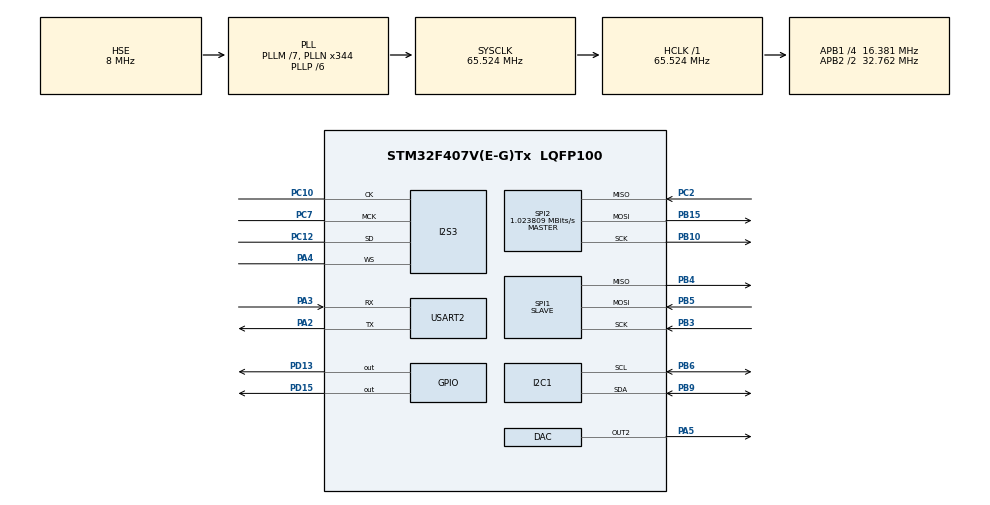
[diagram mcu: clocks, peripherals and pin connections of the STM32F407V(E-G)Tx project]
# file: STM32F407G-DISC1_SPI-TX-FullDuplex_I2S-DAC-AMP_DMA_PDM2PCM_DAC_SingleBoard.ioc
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Dma.Request0=SPI2_RX
Dma.Request1=SPI2_TX
Dma.Request2=SPI1_TX
Dma.Request3=SPI1_RX
Dma.Request4=SPI3_TX
Dma.SPI1_RX.3.Direction=DMA_PERIPH_TO_MEMORY
Dma.SPI1_RX.3.FIFOMode=DMA_FIFOMODE_DISABLE
Dma.SPI1_RX.3.Instance=DMA2_Stream0
Dma.SPI1_RX.3.MemDataAlignment=DMA_MDATAALIGN_BYTE
Dma.SPI1_RX.3.MemInc=DMA_MINC_ENABLE
Dma.SPI1_RX.3.Mode=DMA_CIRCULAR
Dma.SPI1_RX.3.PeriphDataAlignment=DMA_PDATAALIGN_BYTE
Dma.SPI1_RX.3.PeriphInc=DMA_PINC_DISABLE
Dma.SPI1_RX.3.Priority=DMA_PRIORITY_MEDIUM
Dma.SPI1_TX.2.Direction=DMA_MEMORY_TO_PERIPH
Dma.SPI1_TX.2.FIFOMode=DMA_FIFOMODE_DISABLE
Dma.SPI1_TX.2.Instance=DMA2_Stream3
Dma.SPI1_TX.2.MemDataAlignment=DMA_MDATAALIGN_BYTE
Dma.SPI1_TX.2.MemInc=DMA_MINC_ENABLE
Dma.SPI1_TX.2.Mode=DMA_CIRCULAR
Dma.SPI1_TX.2.PeriphDataAlignment=DMA_PDATAALIGN_BYTE
Dma.SPI1_TX.2.PeriphInc=DMA_PINC_DISABLE
Dma.SPI1_TX.2.Priority=DMA_PRIORITY_MEDIUM
Dma.SPI2_RX.0.Direction=DMA_PERIPH_TO_MEMORY
Dma.SPI2_RX.0.FIFOMode=DMA_FIFOMODE_DISABLE
Dma.SPI2_RX.0.Instance=DMA1_Stream3
Dma.SPI2_RX.0.MemDataAlignment=DMA_MDATAALIGN_BYTE
Dma.SPI2_RX.0.MemInc=DMA_MINC_ENABLE
Dma.SPI2_RX.0.Mode=DMA_CIRCULAR
Dma.SPI2_RX.0.PeriphDataAlignment=DMA_PDATAALIGN_BYTE
Dma.SPI2_RX.0.PeriphInc=DMA_PINC_DISABLE
Dma.SPI2_RX.0.Priority=DMA_PRIORITY_MEDIUM
Dma.SPI2_TX.1.Direction=DMA_MEMORY_TO_PERIPH
Dma.SPI2_TX.1.FIFOMode=DMA_FIFOMODE_DISABLE
Dma.SPI2_TX.1.Instance=DMA1_Stream4
Dma.SPI2_TX.1.MemDataAlignment=DMA_MDATAALIGN_BYTE
Dma.SPI2_TX.1.MemInc=DMA_MINC_ENABLE
Dma.SPI2_TX.1.Mode=DMA_CIRCULAR
Dma.SPI2_TX.1.PeriphDataAlignment=DMA_PDATAALIGN_BYTE
Dma.SPI2_TX.1.PeriphInc=DMA_PINC_DISABLE
Dma.SPI2_TX.1.Priority=DMA_PRIORITY_MEDIUM
Dma.SPI3_TX.4.Direction=DMA_MEMORY_TO_PERIPH
Dma.SPI3_TX.4.FIFOMode=DMA_FIFOMODE_DISABLE
Dma.SPI3_TX.4.Instance=DMA1_Stream5
Dma.SPI3_TX.4.MemDataAlignment=DMA_MDATAALIGN_HALFWORD
Dma.SPI3_TX.4.MemInc=DMA_MINC_ENABLE
Dma.SPI3_TX.4.Mode=DMA_CIRCULAR
Dma.SPI3_TX.4.PeriphDataAlignment=DMA_PDATAALIGN_HALFWORD
Dma.SPI3_TX.4.PeriphInc=DMA_PINC_DISABLE
Dma.SPI3_TX.4.Priority=DMA_PRIORITY_LOW
I2S3.AudioFreq=I2S_AUDIOFREQ_16K
I2S3.ErrorAudioFreq=-0.01 %
I2S3.FullDuplexMode=I2S_FULLDUPLEXMODE_DISABLE
I2S3.Instance=SPI$Index
I2S3.RealAudioFreq=15.997 KHz
I2S3.VirtualMode=I2S_MODE_MASTER
Mcu.Family=STM32F4
Mcu.Name=STM32F407V(E-G)Tx
Mcu.Package=LQFP100
NVIC.DMA1_Stream3_IRQn=true\:0\:0\:false\:false\:true\:false\:true
NVIC.DMA1_Stream4_IRQn=true\:0\:0\:false\:false\:true\:false\:true
NVIC.DMA1_Stream5_IRQn=true\:0\:0\:false\:false\:true\:false\:true
NVIC.DMA2_Stream0_IRQn=true\:0\:0\:false\:false\:true\:false\:true
NVIC.DMA2_Stream3_IRQn=true\:0\:0\:false\:false\:true\:false\:true
NVIC.PriorityGroup=NVIC_PRIORITYGROUP_0
PA13.Mode=Serial_Wire
PA13.Signal=SYS_JTMS-SWDIO
PA14.Mode=Serial_Wire
PA14.Signal=SYS_JTCK-SWCLK
PA2.Mode=Asynchronous
PA2.Signal=USART2_TX
PA3.Mode=Asynchronous
PA3.Signal=USART2_RX
PA4.Mode=Half_Duplex_Master
PA4.Signal=I2S3_WS
PA5.Signal=COMP_DAC2_group
PB10.GPIO_Speed=GPIO_SPEED_FREQ_LOW
PB10.Mode=Full_Duplex_Master
PB10.Signal=SPI2_SCK
PB15.GPIO_Speed=GPIO_SPEED_FREQ_LOW
PB15.Mode=Full_Duplex_Master
PB15.Signal=SPI2_MOSI
PB3.GPIO_Speed=GPIO_SPEED_FREQ_LOW
PB3.Mode=Full_Duplex_Slave
PB3.Signal=SPI1_SCK
PB4.GPIO_Speed=GPIO_SPEED_FREQ_LOW
PB4.Mode=Full_Duplex_Slave
PB4.Signal=SPI1_MISO
PB5.GPIO_Speed=GPIO_SPEED_FREQ_LOW
PB5.Mode=Full_Duplex_Slave
PB5.Signal=SPI1_MOSI
PB6.GPIO_Speed=GPIO_SPEED_FREQ_MEDIUM
PB6.Mode=I2C
PB6.Signal=I2C1_SCL
PB9.GPIO_Speed=GPIO_SPEED_FREQ_MEDIUM
PB9.Mode=I2C
PB9.Signal=I2C1_SDA
PC10.Mode=Half_Duplex_Master
PC10.Signal=I2S3_CK
PC12.Mode=Half_Duplex_Master
PC12.Signal=I2S3_SD
PC2.GPIO_Speed=GPIO_SPEED_FREQ_LOW
PC2.Mode=Full_Duplex_Master
PC2.Signal=SPI2_MISO
PC7.Mode=Master_Clock_Activated
PC7.Signal=I2S3_MCK
PD13.Signal=GPIO_Output
PD15.Signal=GPIO_Output
PDM2PCM.CHANNEL1_in_ptr_channels=1
PDM2PCM.CHANNEL1_mic_gain=40
PDM2PCM.CHANNEL1_out_ptr_channels=1
PDM2PCM.CHANNEL1_output_samples_number=125
PH0-OSC_IN.Mode=HSE-External-Oscillator
PH0-OSC_IN.Signal=RCC_OSC_IN
PH1-OSC_OUT.Mode=HSE-External-Oscillator
PH1-OSC_OUT.Signal=RCC_OSC_OUT
ProjectManager.HeapSize=0x200
ProjectManager.StackSize=0x400
ProjectManager.TargetToolchain=STM32CubeIDE
RCC.48MHZClocksFreq_Value=56163265.30612246
RCC.AHBFreq_Value=65523809.52380953
RCC.APB1CLKDivider=RCC_HCLK_DIV4
RCC.APB1Freq_Value=16380952.380952382
RCC.APB1TimFreq_Value=32761904.761904765
RCC.APB2CLKDivider=RCC_HCLK_DIV2
RCC.APB2Freq_Value=32761904.761904765
RCC.APB2TimFreq_Value=65523809.52380953
RCC.CortexFreq_Value=65523809.52380953
RCC.HCLKFreq_Value=65523809.52380953
RCC.HSE_VALUE=8000000
RCC.HSI_VALUE=16000000
RCC.LSE_VALUE=32768
RCC.PLLI2SN=344
RCC.PLLI2SR=6
RCC.PLLM=7
RCC.PLLN=344
RCC.PLLP=RCC_PLLP_DIV6
RCC.PLLQ=7
RCC.PLLSourceVirtual=RCC_PLLSOURCE_HSE
RCC.SYSCLKFreq_VALUE=65523809.52380953
RCC.SYSCLKSource=RCC_SYSCLKSOURCE_PLLCLK
RCC.VCOOutputFreq_Value=393142857.1428572
SH.COMP_DAC2_group.0=DAC_OUT2,DAC_OUT2
SPI1.Direction=SPI_DIRECTION_2LINES
SPI1.Mode=SPI_MODE_SLAVE
SPI1.VirtualType=VM_SLAVE
SPI2.BaudRatePrescaler=SPI_BAUDRATEPRESCALER_16
SPI2.CalculateBaudRate=1.023809 MBits/s
SPI2.Direction=SPI_DIRECTION_2LINES
SPI2.Mode=SPI_MODE_MASTER
SPI2.VirtualType=VM_MASTER
TIM2.AutoReloadPreload=TIM_AUTORELOAD_PRELOAD_ENABLE
TIM2.Period=128-1
TIM2.Prescaler=16-1
TIM2.TIM_MasterOutputTrigger=TIM_TRGO_UPDATE
TIM6.AutoReloadPreload=TIM_AUTORELOAD_PRELOAD_ENABLE
TIM6.Period=128-1
TIM6.Prescaler=16-1
TIM6.TIM_MasterOutputTrigger=TIM_TRGO_UPDATE
USART2.VirtualMode=VM_ASYNC
VP_CRC_VS_CRC.Mode=CRC_Activate
VP_PDM2PCM_VS_PDM2PCM.Mode=PDM2PCM_Channel
VP_TIM2_VS_ClockSourceINT.Mode=Internal
VP_TIM6_VS_ClockSourceINT.Mode=Enable_Timer
board=STM32F407G-DISC1

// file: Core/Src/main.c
/* USER CODE BEGIN Header */
/**
 ******************************************************************************
 * @file           : main.c
 * @brief          : Main program body
 ******************************************************************************
 * @attention
 *
 * <h2><center>&copy; Copyright (c) 2021 STMicroelectronics.
 * All rights reserved.</center></h2>
 *
 * This software component is licensed by ST under Ultimate Liberty license
 * SLA0044, the "License"; You may not use this file except in compliance with
 * the License. You may obtain a copy of the License at:
 *                             www.st.com/SLA0044
 *
 ******************************************************************************
 */
/* USER CODE END Header */
#include "main.h"
#include "pdm2pcm.h"

/* USER CODE BEGIN Includes */

#include <stdio.h>
#include "pdm_tones.h"
#include "MY_CS43L22.h"

//#include "pdm2pcm_glo.h"

/* USER CODE END Includes */

CRC_HandleTypeDef hcrc;

DAC_HandleTypeDef hdac;

I2C_HandleTypeDef hi2c1;

I2S_HandleTypeDef hi2s3;
DMA_HandleTypeDef hdma_spi3_tx;

SPI_HandleTypeDef hspi1;
SPI_HandleTypeDef hspi2;
DMA_HandleTypeDef hdma_spi1_tx;
DMA_HandleTypeDef hdma_spi1_rx;
DMA_HandleTypeDef hdma_spi2_rx;
DMA_HandleTypeDef hdma_spi2_tx;

TIM_HandleTypeDef htim2;
TIM_HandleTypeDef htim6;

UART_HandleTypeDef huart2;

/* USER CODE BEGIN PV */

uint8_t send_data2[30] = "SPI buffer test";
uint8_t receive_data2[1000];
uint8_t PDM_receive_data[2000];
uint8_t PDM_to_I2S[4000]; // double the PDM data for stereo

uint8_t send_data1[30] = "SPI buffer test";
uint8_t receive_data1[30];

int16_t PCM_outBuffer[250];
uint16_t PCM_DAC_outBuffer[250];

/* USER CODE END PV */

void SystemClock_Config(void);
static void MX_GPIO_Init(void);
static void MX_USART2_UART_Init(void);
static void MX_DMA_Init(void);
static void MX_SPI2_Init(void);
static void MX_SPI1_Init(void);
static void MX_CRC_Init(void);
static void MX_DAC_Init(void);
static void MX_TIM6_Init(void);
static void MX_TIM2_Init(void);
static void MX_I2C1_Init(void);
static void MX_I2S3_Init(void);
/* USER CODE BEGIN PFP */

#define PUTCHAR_PROTOTYPE int __io_putchar(int ch)

/* USER CODE END PFP */

int main(void) {

	/* MCU Configuration--------------------------------------------------------*/

	/* Reset of all peripherals, Initializes the Flash interface and the Systick. */
	HAL_Init();

	/* Configure the system clock */
	SystemClock_Config();

	/* Initialize all configured peripherals */
	MX_GPIO_Init();
	MX_USART2_UART_Init();
	MX_DMA_Init();
	MX_SPI2_Init();
	MX_SPI1_Init();
	MX_CRC_Init();
	MX_PDM2PCM_Init();
	MX_DAC_Init();
	MX_TIM6_Init();
	MX_TIM2_Init();
	MX_I2C1_Init();
	MX_I2S3_Init();
	/* USER CODE BEGIN 2 */

	printf("Starting >> STM32F407G-DISC1_SPI-TX-RX-FullDuplex-DMA_PDM2PCM_TIM6_DAC_SingleBoard \n");

	// I2S DAC Amplifier Setup
	CS43_Init(hi2c1, MODE_I2S);
	CS43_SetVolume(40); //0 - 100,, 40
	CS43_Enable_RightLeft(CS43_RIGHT_LEFT);
	CS43_Start();

	// first bit to MSB - 8bit tone500Hz_pdmdata
	for (uint16_t i = 0; i < sizeof(tone500Hz_pdmdata) * 8; i++) {
		pdmBuffer8_8000bits_2000bytes[i >> 3] = (pdmBuffer8_8000bits_2000bytes[i
				>> 3] << 1) + tone500Hz_pdmdata[i % sizeof(tone500Hz_pdmdata)];
	}

	for (uint16_t Index = 0; Index < 2000; Index++) {
		PDM_receive_data[Index] = 0;
	}

	printf("pdmBuffer8_8000bits_2000bytes first bit to MSB\n");
	for (uint16_t Index = 0; Index < 2000; Index++) {
		printf("%d %d\n", Index, pdmBuffer8_8000bits_2000bytes[Index]);
	}

	// working ok
//  HAL_SPI_TransmitReceive_DMA(&hspi1, send_data1, receive_data1, 30);
//  HAL_SPI_TransmitReceive_DMA(&hspi2, send_data2, receive_data2, 30);

	// initialize DAC data to the center of 12bit = 2048
	for (uint16_t Index = 0; Index < 250; Index++) {
		PCM_DAC_outBuffer[Index] = 2048;
	}

	HAL_DAC_Start_DMA(&hdac, DAC_CHANNEL_1, (uint32_t*) PCM_DAC_outBuffer, 250,
			DAC_ALIGN_12B_R);

	HAL_SPI_Transmit_DMA(&hspi1, pdmBuffer8_8000bits_2000bytes, 250); // 125 = 1000bytes, 250 = 2000 bytes
	HAL_SPI_Receive_DMA(&hspi2, PDM_receive_data, 2000);

	HAL_TIM_Base_Start_IT(&htim2); //Start the timer

	HAL_Delay(100);

	printf("Ending >> STM32F407G-DISC1_SPI-TX-RX-FullDuplex-DMA_PDM2PCM_TIM6_DAC_SingleBoard \n");

	/* USER CODE END 2 */

	/* Infinite loop */
	while (1) {

	}
}

void SystemClock_Config(void) {
	RCC_OscInitTypeDef RCC_OscInitStruct = { 0 };
	RCC_ClkInitTypeDef RCC_ClkInitStruct = { 0 };

	/** Configure the main internal regulator output voltage
	 */
	__HAL_RCC_PWR_CLK_ENABLE();
	__HAL_PWR_VOLTAGESCALING_CONFIG(PWR_REGULATOR_VOLTAGE_SCALE1);
	/** Initializes the RCC Oscillators according to the specified parameters
	 * in the RCC_OscInitTypeDef structure.
	 */
	RCC_OscInitStruct.OscillatorType = RCC_OSCILLATORTYPE_HSE;
	RCC_OscInitStruct.HSEState = RCC_HSE_ON;
	RCC_OscInitStruct.PLL.PLLState = RCC_PLL_ON;
	RCC_OscInitStruct.PLL.PLLSource = RCC_PLLSOURCE_HSE;
	RCC_OscInitStruct.PLL.PLLM = 7;
	RCC_OscInitStruct.PLL.PLLN = 344;
	RCC_OscInitStruct.PLL.PLLP = RCC_PLLP_DIV6;
	RCC_OscInitStruct.PLL.PLLQ = 7;
	if (HAL_RCC_OscConfig(&RCC_OscInitStruct) != HAL_OK) {
		Error_Handler();
	}
	/** Initializes the CPU, AHB and APB buses clocks
	 */
	RCC_ClkInitStruct.ClockType = RCC_CLOCKTYPE_HCLK | RCC_CLOCKTYPE_SYSCLK
			| RCC_CLOCKTYPE_PCLK1 | RCC_CLOCKTYPE_PCLK2;
	RCC_ClkInitStruct.SYSCLKSource = RCC_SYSCLKSOURCE_PLLCLK;
	RCC_ClkInitStruct.AHBCLKDivider = RCC_SYSCLK_DIV1;
	RCC_ClkInitStruct.APB1CLKDivider = RCC_HCLK_DIV4;
	RCC_ClkInitStruct.APB2CLKDivider = RCC_HCLK_DIV2;

	if (HAL_RCC_ClockConfig(&RCC_ClkInitStruct, FLASH_LATENCY_2) != HAL_OK) {
		Error_Handler();
	}
}

static void MX_CRC_Init(void) {

	hcrc.Instance = CRC;
	if (HAL_CRC_Init(&hcrc) != HAL_OK) {
		Error_Handler();
	}
	__HAL_CRC_DR_RESET(&hcrc);

}

static void MX_DAC_Init(void) {

	DAC_ChannelConfTypeDef sConfig = { 0 };

	/** DAC Initialization
	 */
	hdac.Instance = DAC;
	if (HAL_DAC_Init(&hdac) != HAL_OK) {
		Error_Handler();
	}
	/** DAC channel OUT2 config
	 */
	sConfig.DAC_Trigger = DAC_TRIGGER_NONE;
	sConfig.DAC_OutputBuffer = DAC_OUTPUTBUFFER_ENABLE;
	if (HAL_DAC_ConfigChannel(&hdac, &sConfig, DAC_CHANNEL_2) != HAL_OK) {
		Error_Handler();
	}

}

static void MX_I2C1_Init(void) {

	hi2c1.Instance = I2C1;
	hi2c1.Init.ClockSpeed = 100000;
	hi2c1.Init.DutyCycle = I2C_DUTYCYCLE_2;
	hi2c1.Init.OwnAddress1 = 0;
	hi2c1.Init.AddressingMode = I2C_ADDRESSINGMODE_7BIT;
	hi2c1.Init.DualAddressMode = I2C_DUALADDRESS_DISABLE;
	hi2c1.Init.OwnAddress2 = 0;
	hi2c1.Init.GeneralCallMode = I2C_GENERALCALL_DISABLE;
	hi2c1.Init.NoStretchMode = I2C_NOSTRETCH_DISABLE;
	if (HAL_I2C_Init(&hi2c1) != HAL_OK) {
		Error_Handler();
	}

}

static void MX_I2S3_Init(void) {

	hi2s3.Instance = SPI3;
	hi2s3.Init.Mode = I2S_MODE_MASTER_TX;
	hi2s3.Init.Standard = I2S_STANDARD_PHILIPS;
	hi2s3.Init.DataFormat = I2S_DATAFORMAT_16B;
	hi2s3.Init.MCLKOutput = I2S_MCLKOUTPUT_ENABLE;
	hi2s3.Init.AudioFreq = I2S_AUDIOFREQ_16K;
	hi2s3.Init.CPOL = I2S_CPOL_LOW;
	hi2s3.Init.ClockSource = I2S_CLOCK_PLL;
	hi2s3.Init.FullDuplexMode = I2S_FULLDUPLEXMODE_DISABLE;
	if (HAL_I2S_Init(&hi2s3) != HAL_OK) {
		Error_Handler();
	}

}

static void MX_SPI1_Init(void) {

	/* SPI1 parameter configuration*/
	hspi1.Instance = SPI1;
	hspi1.Init.Mode = SPI_MODE_SLAVE;
	hspi1.Init.Direction = SPI_DIRECTION_2LINES;
	hspi1.Init.DataSize = SPI_DATASIZE_8BIT;
	hspi1.Init.CLKPolarity = SPI_POLARITY_LOW;
	hspi1.Init.CLKPhase = SPI_PHASE_1EDGE;
	hspi1.Init.NSS = SPI_NSS_SOFT;
	hspi1.Init.FirstBit = SPI_FIRSTBIT_MSB;
	hspi1.Init.TIMode = SPI_TIMODE_DISABLE;
	hspi1.Init.CRCCalculation = SPI_CRCCALCULATION_DISABLE;
	hspi1.Init.CRCPolynomial = 10;
	if (HAL_SPI_Init(&hspi1) != HAL_OK) {
		Error_Handler();
	}

}

static void MX_SPI2_Init(void) {

	/* SPI2 parameter configuration*/
	hspi2.Instance = SPI2;
	hspi2.Init.Mode = SPI_MODE_MASTER;
	hspi2.Init.Direction = SPI_DIRECTION_2LINES;
	hspi2.Init.DataSize = SPI_DATASIZE_8BIT;
	hspi2.Init.CLKPolarity = SPI_POLARITY_LOW;
	hspi2.Init.CLKPhase = SPI_PHASE_1EDGE;
	hspi2.Init.NSS = SPI_NSS_SOFT;
	hspi2.Init.BaudRatePrescaler = SPI_BAUDRATEPRESCALER_16;
	hspi2.Init.FirstBit = SPI_FIRSTBIT_MSB;
	hspi2.Init.TIMode = SPI_TIMODE_DISABLE;
	hspi2.Init.CRCCalculation = SPI_CRCCALCULATION_DISABLE;
	hspi2.Init.CRCPolynomial = 10;
	if (HAL_SPI_Init(&hspi2) != HAL_OK) {
		Error_Handler();
	}

}

static void MX_TIM2_Init(void) {

	TIM_ClockConfigTypeDef sClockSourceConfig = { 0 };
	TIM_MasterConfigTypeDef sMasterConfig = { 0 };

	htim2.Instance = TIM2;
	htim2.Init.Prescaler = 16 - 1;
	htim2.Init.CounterMode = TIM_COUNTERMODE_UP;
	htim2.Init.Period = 128 - 1;
	htim2.Init.ClockDivision = TIM_CLOCKDIVISION_DIV1;
	htim2.Init.AutoReloadPreload = TIM_AUTORELOAD_PRELOAD_ENABLE;
	if (HAL_TIM_Base_Init(&htim2) != HAL_OK) {
		Error_Handler();
	}
	sClockSourceConfig.ClockSource = TIM_CLOCKSOURCE_INTERNAL;
	if (HAL_TIM_ConfigClockSource(&htim2, &sClockSourceConfig) != HAL_OK) {
		Error_Handler();
	}
	sMasterConfig.MasterOutputTrigger = TIM_TRGO_UPDATE;
	sMasterConfig.MasterSlaveMode = TIM_MASTERSLAVEMODE_DISABLE;
	if (HAL_TIMEx_MasterConfigSynchronization(&htim2, &sMasterConfig)
			!= HAL_OK) {
		Error_Handler();
	}

}

static void MX_TIM6_Init(void) {

	TIM_MasterConfigTypeDef sMasterConfig = { 0 };

	htim6.Instance = TIM6;
	htim6.Init.Prescaler = 16 - 1;
	htim6.Init.CounterMode = TIM_COUNTERMODE_UP;
	htim6.Init.Period = 128 - 1;
	htim6.Init.AutoReloadPreload = TIM_AUTORELOAD_PRELOAD_ENABLE;
	if (HAL_TIM_Base_Init(&htim6) != HAL_OK) {
		Error_Handler();
	}
	sMasterConfig.MasterOutputTrigger = TIM_TRGO_UPDATE;
	sMasterConfig.MasterSlaveMode = TIM_MASTERSLAVEMODE_DISABLE;
	if (HAL_TIMEx_MasterConfigSynchronization(&htim6, &sMasterConfig)
			!= HAL_OK) {
		Error_Handler();
	}

}

static void MX_USART2_UART_Init(void) {

	huart2.Instance = USART2;
	huart2.Init.BaudRate = 115200;
	huart2.Init.WordLength = UART_WORDLENGTH_8B;
	huart2.Init.StopBits = UART_STOPBITS_1;
	huart2.Init.Parity = UART_PARITY_NONE;
	huart2.Init.Mode = UART_MODE_TX_RX;
	huart2.Init.HwFlowCtl = UART_HWCONTROL_NONE;
	huart2.Init.OverSampling = UART_OVERSAMPLING_16;
	if (HAL_UART_Init(&huart2) != HAL_OK) {
		Error_Handler();
	}

}

static void MX_DMA_Init(void) {

	/* DMA controller clock enable */
	__HAL_RCC_DMA1_CLK_ENABLE();
	__HAL_RCC_DMA2_CLK_ENABLE();

	/* DMA interrupt init */
	/* DMA1_Stream3_IRQn interrupt configuration */
	HAL_NVIC_SetPriority(DMA1_Stream3_IRQn, 0, 0);
	HAL_NVIC_EnableIRQ(DMA1_Stream3_IRQn);
	/* DMA1_Stream4_IRQn interrupt configuration */
	HAL_NVIC_SetPriority(DMA1_Stream4_IRQn, 0, 0);
	HAL_NVIC_EnableIRQ(DMA1_Stream4_IRQn);
	/* DMA1_Stream5_IRQn interrupt configuration */
	HAL_NVIC_SetPriority(DMA1_Stream5_IRQn, 0, 0);
	HAL_NVIC_EnableIRQ(DMA1_Stream5_IRQn);
	/* DMA2_Stream0_IRQn interrupt configuration */
	HAL_NVIC_SetPriority(DMA2_Stream0_IRQn, 0, 0);
	HAL_NVIC_EnableIRQ(DMA2_Stream0_IRQn);
	/* DMA2_Stream3_IRQn interrupt configuration */
	HAL_NVIC_SetPriority(DMA2_Stream3_IRQn, 0, 0);
	HAL_NVIC_EnableIRQ(DMA2_Stream3_IRQn);

}

static void MX_GPIO_Init(void) {
	GPIO_InitTypeDef GPIO_InitStruct = { 0 };

	/* GPIO Ports Clock Enable */
	__HAL_RCC_GPIOH_CLK_ENABLE();
	__HAL_RCC_GPIOC_CLK_ENABLE();
	__HAL_RCC_GPIOA_CLK_ENABLE();
	__HAL_RCC_GPIOB_CLK_ENABLE();
	__HAL_RCC_GPIOD_CLK_ENABLE();

	/*Configure GPIO pin Output Level */
	HAL_GPIO_WritePin(GPIOD, GPIO_PIN_13 | GPIO_PIN_15, GPIO_PIN_RESET);

	/*Configure GPIO pins : PD13 PD15 */
	GPIO_InitStruct.Pin = GPIO_PIN_13 | GPIO_PIN_15;
	GPIO_InitStruct.Mode = GPIO_MODE_OUTPUT_PP;
	GPIO_InitStruct.Pull = GPIO_NOPULL;
	GPIO_InitStruct.Speed = GPIO_SPEED_FREQ_LOW;
	HAL_GPIO_Init(GPIOD, &GPIO_InitStruct);

}

/* USER CODE BEGIN 4 */

PUTCHAR_PROTOTYPE {
	/* Place your implementation of fputc here */
	/* e.g. write a character to the LPUART1 and Loop until the end of transmission */
	HAL_UART_Transmit(&huart2, (uint8_t*) &ch, 1, 0xFFFF);

	return ch;
}

void HAL_SPI_RxCpltCallback(SPI_HandleTypeDef *hspi) {
	UNUSED(hspi);

	GPIOD->BSRR = (1 << 13); // Set
	GPIOD->BSRR = (1 << 15); // Set
//	PDM_Filter(&pdmBuffer8_8000bits_2000bytes[1000],&PCM_outBuffer[125], &PDM1_filter_handler);
	PDM_Filter(&PDM_receive_data[1000], &PCM_outBuffer[125],
			&PDM1_filter_handler);
	for (int cntr = 125; cntr < 250; cntr++) {
		PCM_DAC_outBuffer[cntr] = (PCM_outBuffer[cntr] >> 4) + 2048;
	}
	GPIOD->BSRR = (1 << (15 + 16)); // ReSet

//	printf("HAL_SPI_RxCpltCallback \n");
}

void HAL_SPI_RxHalfCpltCallback(SPI_HandleTypeDef *hspi) {
	UNUSED(hspi);

	GPIOD->BSRR = (1 << (13 + 16)); // Reset
	GPIOD->BSRR = (1 << 15); // Set
//	PDM_Filter(&pdmBuffer8_8000bits_2000bytes[0],&PCM_outBuffer[0], &PDM1_filter_handler);
	PDM_Filter(&PDM_receive_data[0], &PCM_outBuffer[0], &PDM1_filter_handler);
	for (int cntr = 0; cntr < 125; cntr++) {
		PCM_DAC_outBuffer[cntr] = (PCM_outBuffer[cntr] >> 4) + 2048;
	}
	GPIOD->BSRR = (1 << (15 + 16)); // ReSet
}

//void HAL_SPI_TxCpltCallback(SPI_HandleTypeDef *hspi)
//{
//	UNUSED(hspi);
//
//	printf("HAL_SPI_TxCpltCallback \n");
//}
//
//void HAL_SPI_TxHalfCpltCallback(SPI_HandleTypeDef *hspi)
//{
//	UNUSED(hspi);
//
//	printf("HAL_SPI_TxHalfCpltCallback \n");
//}
//
//void HAL_SPI_TxRxCpltCallback(SPI_HandleTypeDef *hspi)
//{
//	UNUSED(hspi);
//
//	printf("HAL_SPI_TxRxCpltCallback \n");
//}
//
//void HAL_SPI_TxRxHalfCpltCallback(SPI_HandleTypeDef *hspi)
//{
//	UNUSED(hspi);
//
//	printf("HAL_SPI_TxRxHalfCpltCallback \n");
//}

void HAL_SPI_ErrorCallback(SPI_HandleTypeDef *hspi) {
	UNUSED(hspi);

	printf("HAL_SPI_ErrorCallback : Error code %d \n", hspi->ErrorCode);

}

/* USER CODE END 4 */

void Error_Handler(void) {
	/* USER CODE BEGIN Error_Handler_Debug */
	/* User can add his own implementation to report the HAL error return state */
	printf("Error_Handler \n");
	__disable_irq();
	while (1) {
	}
	/* USER CODE END Error_Handler_Debug */
}
